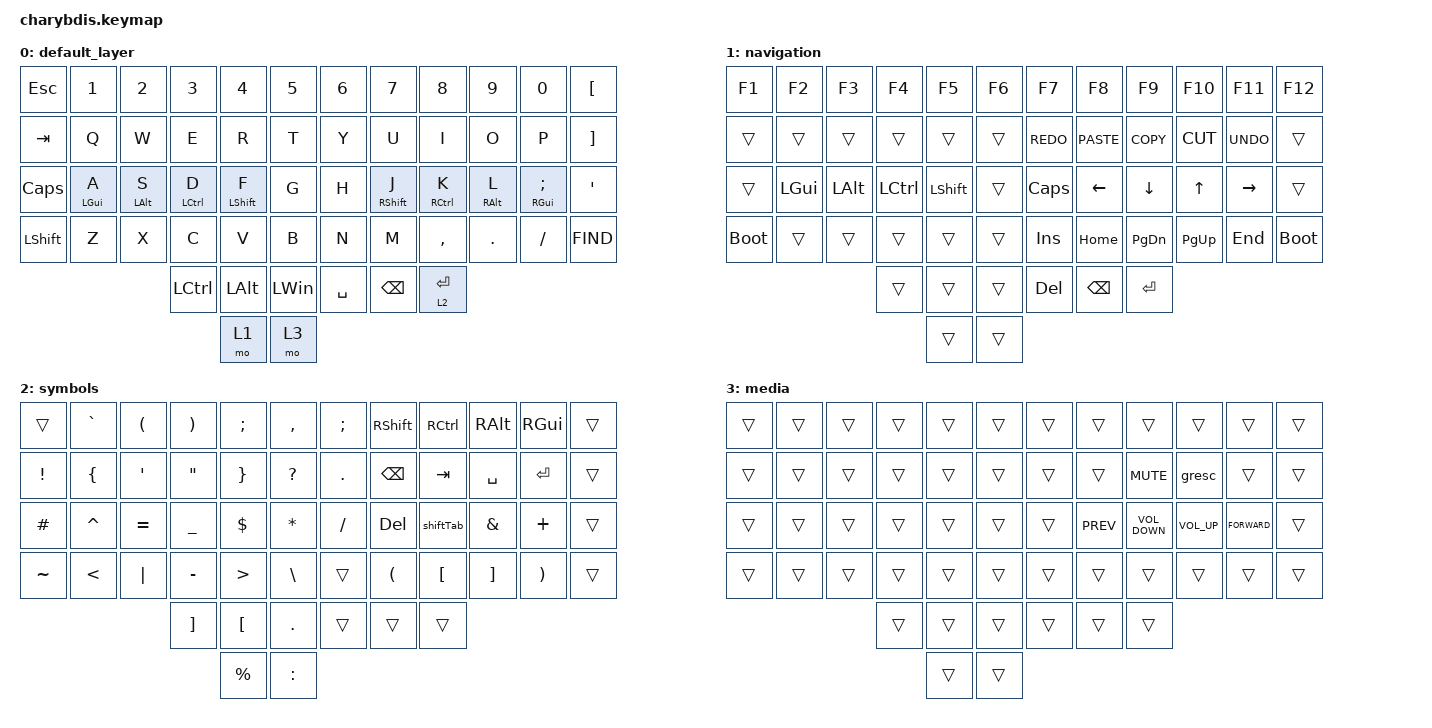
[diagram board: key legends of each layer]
#include <behaviors.dtsi>
#include <dt-bindings/zmk/keys.h>

&mt {
    tapping-term-ms = <300>;
    flavor = "balanced";
    quick-tap-ms = <175>;
    require-prior-idle-ms = <150>;
    hold-trigger-on-release;
};

/ {
    macros {
        shiftTab: shiftTab {
            compatible = "zmk,behavior-macro";
            #binding-cells = <0>;
            bindings = <&macro_tap>, <&kp LEFT_SHIFT &kp TAB>, <&macro_release>;

            label = "SHIFTTAB";
        };
    };

    keymap {
        compatible = "zmk,keymap";

        default_layer {
            bindings = <
&kp ESC         &kp NUMBER_1    &kp NUMBER_2    &kp NUMBER_3      &kp NUMBER_4      &kp NUMBER_5    &kp NUMBER_6  &kp NUMBER_7       &kp NUMBER_8         &kp NUMBER_9     &kp NUMBER_0             &kp LEFT_BRACKET
&kp TAB         &kp Q           &kp W           &kp E             &kp R             &kp T           &kp Y         &kp U              &kp I                &kp O            &kp P                    &kp RIGHT_BRACKET
&kp CAPSLOCK    &mt LEFT_GUI A  &mt LEFT_ALT S  &mt LCTRL D       &mt LEFT_SHIFT F  &kp G           &kp H         &mt RIGHT_SHIFT J  &mt RIGHT_CONTROL K  &mt RIGHT_ALT L  &mt RIGHT_GUI SEMICOLON  &kp APOSTROPHE
&kp LEFT_SHIFT  &kp Z           &kp X           &kp C             &kp V             &kp B           &kp N         &kp M              &kp COMMA            &kp PERIOD       &kp SLASH                &kp K_FIND
                                                &kp LEFT_CONTROL  &kp LEFT_ALT      &kp LEFT_WIN    &kp SPACE     &kp BACKSPACE      &lt 2 ENTER
                                                                  &mo 1             &mo 3
            >;
        };

        navigation {
            bindings = <
&kp F1       &kp F2        &kp F3        &kp F4     &kp F5          &kp F6    &kp F7        &kp F8          &kp F9          &kp F10       &kp F11     &kp F12
&trans       &trans        &trans        &trans     &trans          &trans    &kp K_REDO    &kp K_PASTE     &kp K_COPY      &kp K_CUT     &kp K_UNDO  &trans
&trans       &kp LEFT_GUI  &kp LEFT_ALT  &kp LCTRL  &kp LEFT_SHIFT  &trans    &kp CAPSLOCK  &kp LEFT_ARROW  &kp DOWN_ARROW  &kp UP_ARROW  &kp RIGHT   &trans
&bootloader  &trans        &trans        &trans     &trans          &trans    &kp INSERT    &kp HOME        &kp PAGE_DOWN   &kp PAGE_UP   &kp END     &bootloader
                                         &trans     &trans          &trans    &kp DEL       &kp BACKSPACE   &kp ENTER
                                                    &trans          &trans
            >;
        };

        symbols {
            bindings = <
&trans     &kp GRAVE       &kp LPAR          &kp RPAR           &kp SEMI          &kp COMMA        &kp SEMI  &kp RSHFT   &kp RCTRL  &kp RALT       &kp RGUI   &trans
&kp EXCL   &kp LEFT_BRACE  &kp SINGLE_QUOTE  &kp DOUBLE_QUOTES  &kp RIGHT_BRACE   &kp QMARK        &kp DOT   &kp BSPC    &kp TAB    &kp SPACE      &kp ENTER  &trans
&kp POUND  &kp CARET       &kp EQUAL         &kp UNDER          &kp DOLLAR        &kp STAR         &kp FSLH  &kp DELETE  &shiftTab  &kp AMPERSAND  &kp PLUS   &trans
&kp TILDE  &kp LT          &kp PIPE          &kp MINUS          &kp GT            &kp BACKSLASH    &trans    &kp LPAR    &kp LBKT   &kp RBKT       &kp RPAR   &trans
                                             &kp RIGHT_BRACKET  &kp LEFT_BRACKET  &kp PERIOD       &trans    &trans      &trans
                                                                &kp PERCENT       &kp COLON
            >;
        };

        media {
            bindings = <
&trans  &trans  &trans  &trans  &trans  &trans    &trans  &trans      &trans             &trans           &trans         &trans
&trans  &trans  &trans  &trans  &trans  &trans    &trans  &trans      &kp K_MUTE         &gresc           &trans         &trans
&trans  &trans  &trans  &trans  &trans  &trans    &trans  &kp K_PREV  &kp C_VOLUME_DOWN  &kp C_VOLUME_UP  &kp K_FORWARD  &trans
&trans  &trans  &trans  &trans  &trans  &trans    &trans  &trans      &trans             &trans           &trans         &trans
                        &trans  &trans  &trans    &trans  &trans      &trans
                                &trans  &trans
            >;
        };
    };
};
